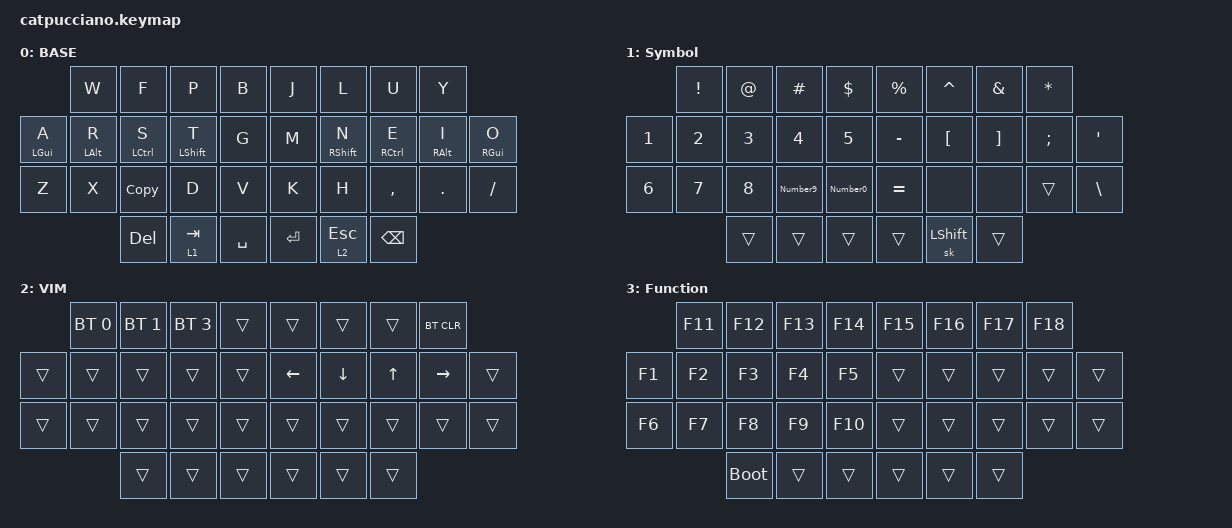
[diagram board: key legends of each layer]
#include <behaviors.dtsi>
#include <dt-bindings/zmk/bt.h>
#include <dt-bindings/zmk/keys.h>

#define BASE 0
#define NAV  1
#define SYM  2
#define ADJ  3
#define TVP1 4
#define TVP2 5

&mt {
    quick-tap-ms = <175>;
    flavor = "balanced";
    require-prior-idle-ms = <150>;
    hold-trigger-key-positions = <35 36 37 26 27 28 29 19 30 5 6 7 8 9 15 16 17 18 19 26 27 28 29 30 31 37>;
    hold-trigger-on-release;
};

/ {
    combos {
        compatible = "zmk,combos";

        LetterQ {
            bindings = <&kp Q>;
            key-positions = <0 1>;
        };

        Enter {
            bindings = <&kp ENTER>;
            key-positions = <14 15 16>;
        };

        semicolon {
            bindings = <&kp SEMI>;
            key-positions = <6 7>;
        };

        Copy {
            bindings = <&kp LC(C)>;
            key-positions = <20 21>;
        };

        Paste {
            bindings = <&kp LC(V)>;
            key-positions = <21 22>;
        };

        Cut {
            bindings = <&kp LC(X)>;
            key-positions = <19 20>;
        };

        Undo {
            bindings = <&kp LC(Z)>;
            key-positions = <18 19>;
        };
    };

    behaviors {
        Number9: Number9 {
            compatible = "zmk,behavior-tap-dance";
            label = "NUMBER9";
            #binding-cells = <0>;
            tapping-term-ms = <200>;
            bindings = <&kp N9>, <&kp LEFT_PARENTHESIS>;
        };

        Number0: Number0 {
            compatible = "zmk,behavior-tap-dance";
            label = "NUMBER0";
            #binding-cells = <0>;
            tapping-term-ms = <200>;
            bindings = <&kp N0>, <&kp RIGHT_PARENTHESIS>;
        };

        Copy: Copy {
            compatible = "zmk,behavior-tap-dance";
            label = "COPY";
            #binding-cells = <0>;
            tapping-term-ms = <200>;
            bindings = <&kp C>, <&kp LC(C)>;
        };
    };

    keymap {
        compatible = "zmk,keymap";

        // ▄▄▄▄▄▄▄▄▄▄▄▄▄▄▄▄▄▄▄▄▄▄▄▄▄▄▄▄▄▄▄▄▄▄▄▄▄▄▄▄▄▄▄▄▄▄▄▄▄▄▄▄▄▄▄▄▄▄▄▄▄▄▄▄▄▄▄▄▄▄▄▄▄▄▄▄▄▄▄▄▄▄▄▄▄▄▄▄▄▄▄▄▄▄▄▄▄▄▄▄▄▄▄▄▄▄▄▄▄▄▄▄▄▄▄▄▄▄▄▄▄▄▄▄▄▄▄▄▄▄▄▄▄▄▄▄▄▄▄▄▄▄▄▄▄▄▄▄▄

        base_layer {
            // ┏━━━━━━━━━━━━━━━━━━━━━━━━━━━━━━━━━━━━━━━┓

            label = "BASE";

            // ┗━━━━━━━━━━━━━━━━━━━━━━━━━━━━━━━━━━━━━━━┛
            //             ┏━━━━━━━━━━━┳━━━━━━━━━━━┳━━━━━━━━━━━┳━━━━━━━━━━━┳━━━━━━━━━━━┓   ┏━━━━━━━━━━━┳━━━━━━━━━━━┳━━━━━━━━━━━┳━━━━━━━━━━━┳━━━━━━━━━━━┓
            //             ┃     Q     ┃     W     ┃     F     ┃     P     ┃     G     ┃   ┃     J     ┃     L     ┃     U     ┃     Y     ┃     ;     ┃
            //             ┣━━━━━━━━━━━╋━━━━━━━━━━━╋━━━━━━━━━━━╋━━━━━━━━━━━╋━━━━━━━━━━━┫   ┣━━━━━━━━━━━╋━━━━━━━━━━━╋━━━━━━━━━━━╋━━━━━━━━━━━╋━━━━━━━━━━━┫
            //             ┃     A     ┃     R     ┃     S     ┃     T     ┃     D     ┃   ┃     H     ┃     N     ┃     E     ┃     I     ┃     O     ┃
            // ┏━━━━━━━━━━━╋━━━━━━━━━━━╋━━━━━━━━━━━╋━━━━━━━━━━━╋━━━━━━━━━━━╋━━━━━━━━━━━┫   ┣━━━━━━━━━━━╋━━━━━━━━━━━╋━━━━━━━━━━━╋━━━━━━━━━━━╋━━━━━━━━━━━╋━━━━━━━━━━━┓
            // ┃     Q     ┃     Z     ┃     X     ┃     C     ┃     V     ┃     B     ┃   ┃     K     ┃     M     ┃     ,     ┃     .     ┃     /     ┃     \     ┃
            // ┗━━━━━━━━━━━┻━━━━━━━━━━━┻━━━━━━━━━━━╋━━━━━━━━━━━╋━━━━━━━━━━━╋━━━━━━━━━━━┫   ┣━━━━━━━━━━━╋━━━━━━━━━━━╋━━━━━━━━━━━╋━━━━━━━━━━━┻━━━━━━━━━━━┻━━━━━━━━━━━┛
            //                                     ┃    DEL    ┃    TAB    ┃    SPC    ┃   ┃   ENTER   ┃           ┃   BSPC    ┃
            //                                     ┗━━━━━━━━━━━┻━━━━━━━━━━━┻━━━━━━━━━━━┛   ┗━━━━━━━━━━━┻━━━━━━━━━━━┻━━━━━━━━━━━┛

            bindings = <
            &kp W       &kp F        &kp P        &kp B      &kp J    &kp L        &kp U        &kp Y
&mt LGUI A  &mt LALT R  &mt LCTRL S  &mt LSHFT T  &kp G      &kp M    &mt RSHFT N  &mt RCTRL E  &mt RALT I  &mt RGUI O
&kp Z       &kp X       &Copy        &kp D        &kp V      &kp K    &kp H        &kp COMMA    &kp DOT     &kp FSLH
                        &kp DEL      &lt 1 TAB    &kp SPACE  &kp RET  &lt 2 ESC    &kp BSPC
            >;
        };

        Symbol {
            bindings = <
              &kp EXCLAMATION  &kp AT_SIGN   &kp HASH      &kp DOLLAR  &kp PERCENT  &kp CARET         &kp AMPS           &kp ASTRK
&kp NUMBER_1  &kp NUMBER_2     &kp NUMBER_3  &kp NUMBER_4  &kp N5      &kp MINUS    &kp LEFT_BRACKET  &kp RIGHT_BRACKET  &kp SEMI   &kp SINGLE_QUOTE
&kp NUMBER_6  &kp N7           &kp N8        &Number9      &Number0    &kp EQUAL    &none             &none              &trans     &kp BSLH
                               &trans        &trans        &trans      &trans       &sk LSHIFT        &trans
            >;
        };

        VIM {
            bindings = <
        &bt BT_SEL 0  &bt BT_SEL 1  &bt BT_SEL 3  &trans  &trans    &trans    &trans  &bt BT_CLR
&trans  &trans        &trans        &trans        &trans  &kp LEFT  &kp DOWN  &kp UP  &kp RIGHT   &trans
&trans  &trans        &trans        &trans        &trans  &trans    &trans    &trans  &trans      &trans
                      &trans        &trans        &trans  &trans    &trans    &trans
            >;
        };

        Function {
            bindings = <
        &kp F11  &kp F12      &kp F13  &kp F14  &kp F15  &kp F16  &kp F17  &kp F18
&kp F1  &kp F2   &kp F3       &kp F4   &kp F5   &trans   &trans   &trans   &trans   &trans
&kp F6  &kp F7   &kp F8       &kp F9   &kp F10  &trans   &trans   &trans   &trans   &trans
                 &bootloader  &trans   &trans   &trans   &trans   &trans
            >;
        };
    };
};
